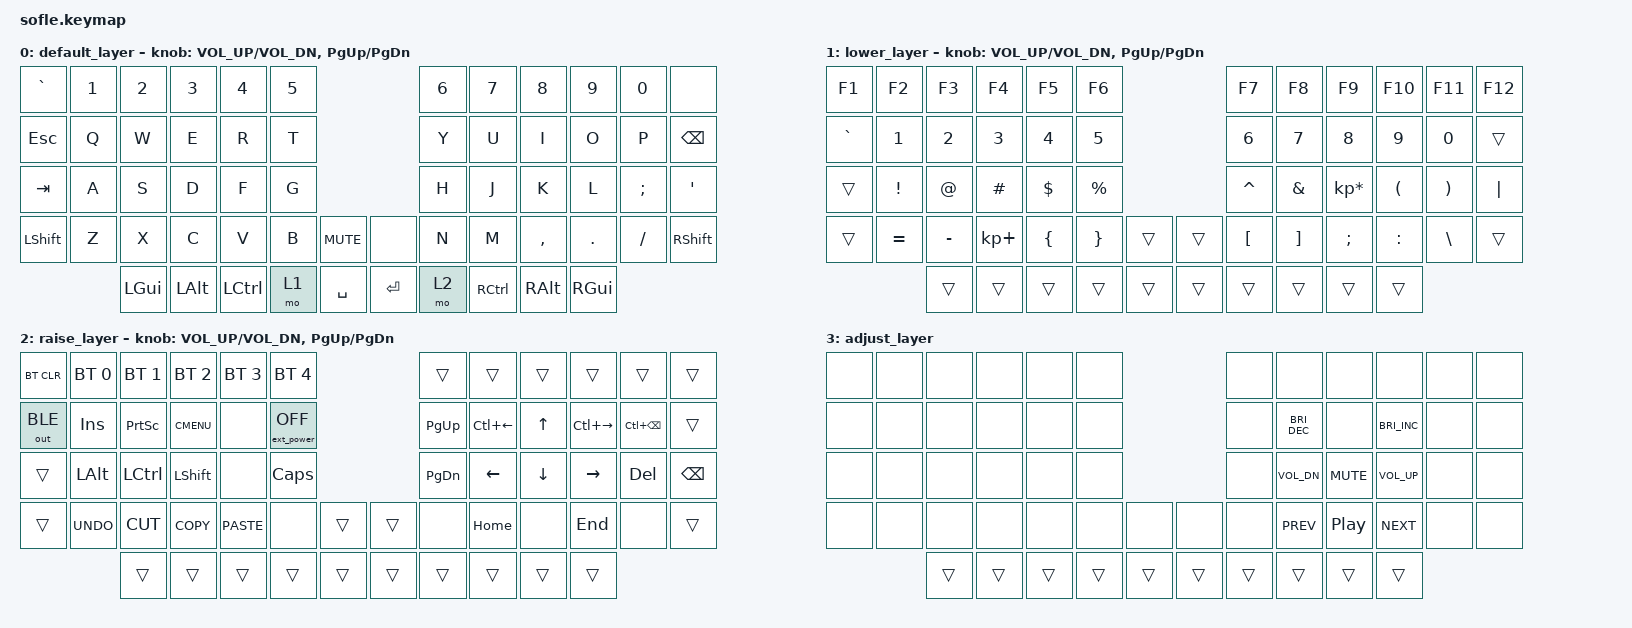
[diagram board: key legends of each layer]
/*
 * Copyright (c) 2020 The ZMK Contributors
 *
 * SPDX-License-Identifier: MIT
 */

#include <behaviors.dtsi>
#include <dt-bindings/zmk/keys.h>
#include <dt-bindings/zmk/bt.h>
#include <dt-bindings/zmk/outputs.h>
#include <dt-bindings/zmk/ext_power.h>


/ {

    conditional_layers {        
        compatible = "zmk,conditional-layers";
        tri_layer {            
            if-layers = <1 2>;            
            then-layer = <3>;
        };
    };
    
    keymap {
        compatible = "zmk,keymap";

        default_layer {
// ------------------------------------------------------------------------------------------------------------
// |  `    |  1  |  2  |  3   |  4   |  5   |                   |  6   |  7    |  8    |  9   |   0   |       |
// |  ESC  |  Q  |  W  |  E   |  R   |  T   |                   |  Y   |  U    |  I    |  O   |   P   | BKSPC |
// |  TAB  |  A  |  S  |  D   |  F   |  G   |                   |  H   |  J    |  K    |  L   |   ;   |   '   |
// | SHIFT |  Z  |  X  |  C   |  V   |  B   |  MUTE  |  |       |  N   |  M    |  ,    |  .   |   /   | SHIFT |
//               | GUI | ALT  | CTRL | LOWER|  ENTER |  | SPACE | RAISE| CTRL  | ALT   | GUI  |
            bindings = <
&kp GRAVE &kp N1 &kp N2   &kp N3   &kp N4    &kp N5                      &kp N6 &kp N7    &kp N8    &kp N9   &kp N0   &none
&kp ESC   &kp Q  &kp W    &kp E    &kp R     &kp T                       &kp Y  &kp U     &kp I     &kp O    &kp P    &kp BSPC
&kp TAB   &kp A  &kp S    &kp D    &kp F     &kp G                       &kp H  &kp J     &kp K     &kp L    &kp SEMI &kp SQT
&kp LSHFT &kp Z  &kp X    &kp C    &kp V     &kp B  &kp C_MUTE &none     &kp N  &kp M     &kp COMMA &kp DOT  &kp FSLH &kp RSHFT
                 &kp LGUI &kp LALT &kp LCTRL &mo 1  &kp SPACE    &kp RET &mo 2  &kp RCTRL &kp RALT  &kp RGUI
            >;

            sensor-bindings = <&inc_dec_kp C_VOL_UP C_VOL_DN &inc_dec_kp PG_UP PG_DN>;
        };

        lower_layer {
// TODO: Some binds are waiting for shifted keycode support.
// ------------------------------------------------------------------------------------------------------------
// |       |  F1 |  F2 |  F3  |  F4  |  F5  |                   |  F6  |  F7   |  F8   |  F9  |  F10  |  F11  |
// | `     |   1 |   2 |   3  |   4  |   5  |                   |   6  |   7   |   8   |   9  |    0  |  F12  |
// |       |  !  |  @  |  #   |  $   |  %   |                   |  ^   |  &    |  *    |  (   |   )   |   |   |
// |       |  =  |  -  |  +   |  {   |  }   |        |  |       |  [   |  ]    |  ;    |  :   |   \   |       |
//               |     |      |      |      |        |  |       |      |       |       |      |
            bindings = <
&kp F1    &kp F2    &kp F3    &kp F4      &kp F5    &kp F6                    &kp F7    &kp F8   &kp F9          &kp F10   &kp F11   &kp F12
&kp GRAVE &kp N1    &kp N2    &kp N3      &kp N4    &kp N5                    &kp N6    &kp N7   &kp N8          &kp N9    &kp N0    &trans
&trans    &kp EXCL  &kp AT    &kp HASH    &kp DLLR  &kp PRCNT                 &kp CARET &kp AMPS &kp KP_MULTIPLY &kp LPAR  &kp RPAR  &kp PIPE
&trans    &kp EQUAL &kp MINUS &kp KP_PLUS &kp LBRC  &kp RBRC  &trans   &trans &kp LBKT  &kp RBKT &kp SEMI        &kp COLON &kp BSLH  &trans
                    &trans    &trans      &trans    &trans    &trans   &trans &trans    &trans   &trans          &trans
            >;

            sensor-bindings = <&inc_dec_kp C_VOL_UP C_VOL_DN &inc_dec_kp PG_UP PG_DN>;
        };

        raise_layer {
// ------------------------------------------------------------------------------------------------------------
// |BTCLR| BT1  | BT2  |  BT3  |  BT4  |  BT5 |                |      |      |       |      |       |       |
// |     | INS  | PSCR | GUI   |       |      |                | PGUP |      |   ^   |      |       |       |
// |     | ALT  | CTRL | SHIFT |       | CAPS |                | PGDN |   <- |   v   |  ->  |  DEL  | BKSPC |
// |     | UNDO | CUT  | COPY  | PASTE |      |      |  |      |      |      |       |      |       |       |
//              |      |       |       |      |      |  |      |      |      |       |      |
            bindings = <
&bt BT_CLR &bt BT_SEL 0 &bt BT_SEL 1 &bt BT_SEL 2 &bt BT_SEL 3 &bt BT_SEL 4             &trans    &trans    &trans   &trans    &trans  &trans
&out OUT_BLE &kp INS      &kp PSCRN    &kp K_CMENU  &none      &ext_power EP_OFF                 &kp PG_UP &kp LC(LEFT_ARROW) &kp UP    &kp LC(RIGHT_ARROW) &kp LC(BSPC)  &trans
&trans     &kp LALT     &kp LCTRL    &kp LSHFT    &none        &kp CLCK                 &kp PG_DN &kp LEFT  &kp DOWN &kp RIGHT &kp DEL &kp BSPC
&trans     &kp K_UNDO   &kp K_CUT    &kp K_COPY   &kp K_PASTE  &none   &trans   &trans  &none     &kp HOME  &none    &kp END   &none   &trans
                        &trans       &trans       &trans       &trans  &trans   &trans  &trans    &trans    &trans   &trans
            >;

            sensor-bindings = <&inc_dec_kp C_VOL_UP C_VOL_DN &inc_dec_kp PG_UP PG_DN>;
        };
        
        adjust_layer {

                        bindings = <
&none     &none     &none     &none     &none     &none                  &none     &none     &none     &none     &none     &none
&none     &none     &none     &none     &none     &none                  &none     &kp C_BRI_DEC &none &kp C_BRI_INC     &none     &none
&none     &none     &none     &none     &none     &none                  &none     &kp C_VOL_DN  &kp C_MUTE &kp C_VOL_UP     &none     &none
&none     &none     &none     &none     &none     &none   &none &none    &none     &kp C_PREV &kp C_PLAY_PAUSE &kp C_NEXT     &none     &none
                        &trans       &trans       &trans       &trans  &trans   &trans  &trans    &trans    &trans   &trans
            >;
                };
        
    };
};
